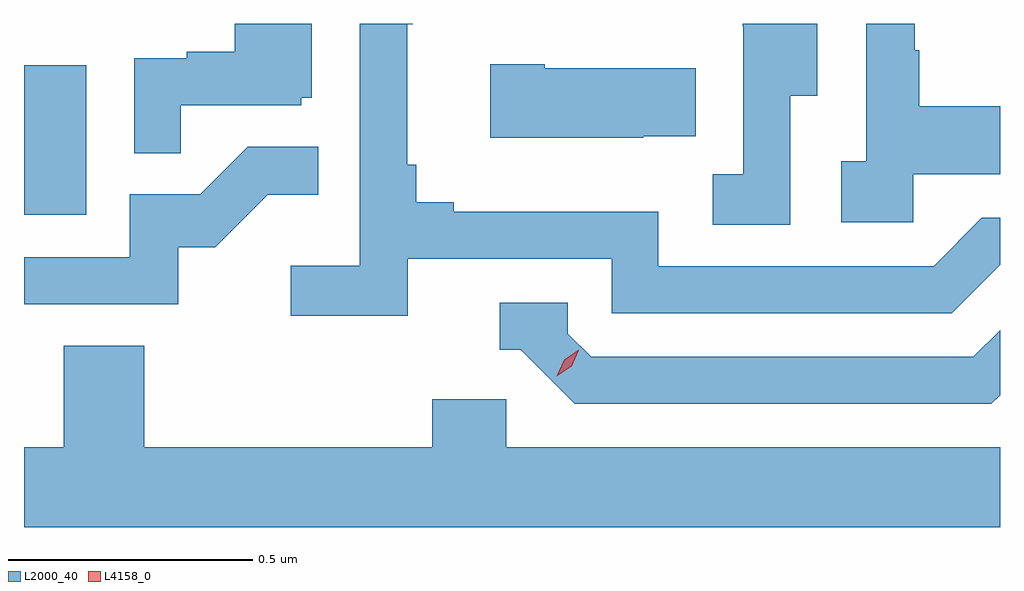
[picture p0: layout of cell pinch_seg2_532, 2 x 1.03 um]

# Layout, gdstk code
import gdstk
lib = gdstk.Library(unit=1e-6, precision=1e-09)
def R(c, l, rs):  # rectangles x0, y0, x1, y1
    for r in rs: c.add(gdstk.rectangle(r[:2], r[2:], *l))
def P(c, l, *ps):  # polygons
    for p in ps: c.add(gdstk.Polygon(p, *l))
L2000_40 = (2000, 40)
L4158_0 = (4158, 0)

pinch_seg2_532 = lib.new_cell('pinch_seg2_532')
R(pinch_seg2_532, L2000_40, [(1010.288,592.332,1010.416,592.639)])
P(pinch_seg2_532, L2000_40, [(1012.11,592.415),(1012.288,592.415),(1012.288,592.555),(1012.123,592.555),(1012.123,592.67),(1012.113,592.67),(1012.113,592.724),(1012.014,592.724),(1012.014,592.442),(1011.963,592.442),(1011.963,592.317),(1012.11,592.317)],
  [(1010.609,592.557),(1010.856,592.557),(1010.856,592.572),(1010.878,592.572),(1010.878,592.724),(1010.72,592.724),(1010.72,592.666),(1010.621,592.666),(1010.621,592.653),(1010.514,592.653),(1010.514,592.459),(1010.609,592.459)],
  [(1011.074,592.242),(1011.492,592.242),(1011.492,592.131),(1012.189,592.131),(1012.288,592.23),(1012.288,592.326),(1012.251,592.326),(1012.152,592.227),(1011.588,592.227),(1011.588,592.339),(1011.169,592.339),(1011.169,592.358),(1011.092,592.358),(1011.092,592.435),(1011.073,592.435),(1011.073,592.723),(1011.085,592.723),(1011.085,592.724),(1010.976,592.724),(1010.976,592.228),(1010.835,592.228),(1010.835,592.126),(1011.074,592.126)],
  [(1011.858,592.576),(1011.913,592.576),(1011.913,592.724),(1011.761,592.724),(1011.761,592.719),(1011.762,592.719),(1011.762,592.415),(1011.699,592.415),(1011.699,592.312),(1011.858,592.312)],
  [(1011.557,592.493),(1011.665,592.493),(1011.665,592.633),(1011.355,592.633),(1011.355,592.641),(1011.243,592.641),(1011.243,592.49),(1011.557,592.49)],
  [(1010.604,592.266),(1010.68,592.266),(1010.787,592.373),(1010.891,592.373),(1010.891,592.472),(1010.747,592.472),(1010.649,592.374),(1010.505,592.374),(1010.505,592.245),(1010.288,592.245),(1010.288,592.149),(1010.604,592.149)],
  [(1012.288,591.963),(1012.288,592.096),(1012.233,592.041),(1011.45,592.041),(1011.402,592.089),(1011.402,592.152),(1011.263,592.152),(1011.263,592.056),(1011.306,592.056),(1011.417,591.945),(1012.27,591.945)],
  [(1012.288,591.856),(1011.276,591.856),(1011.276,591.954),(1011.125,591.954),(1011.125,591.856),(1010.534,591.856),(1010.534,592.064),(1010.369,592.064),(1010.369,591.856),(1010.288,591.856),(1010.288,591.692),(1012.288,591.692)])
P(pinch_seg2_532, L4158_0, [(1011.38,592.002),(1011.38,592.002),(1011.395,592.035),(1011.425,592.056),(1011.425,592.056),(1011.425,592.055),(1011.41,592.022),(1011.38,592.002)])

lib.write_gds('pinch_seg2_532.gds')
